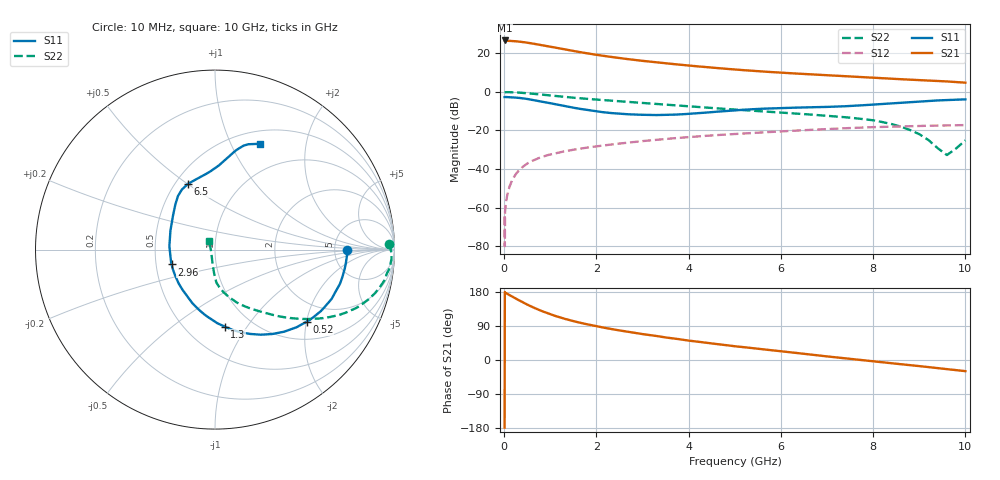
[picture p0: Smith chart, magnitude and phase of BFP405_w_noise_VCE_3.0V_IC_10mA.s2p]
! Infineon Technologies  Discrete & RF Semiconductors
! BFP405
! VCE =  3.0 V,  IC =  10 mA
! Common Emitter S-Parameters:  Jan 2016
# GHz  S  MA  R  50
!  f  S11  S21  S12  S22
! GHz  MAG  ANG  MAG  ANG  MAG  ANG  MAG  ANG
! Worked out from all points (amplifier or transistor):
!   233 points, 10 MHz to 10 GHz, reference 50 ohm
!   highest |S21| = 26.7 dB at 10 MHz (marker M1)
!   |S21| within 3 dB of that: start of sweep to 946.4 MHz
!   unconditionally stable (mu >= 1): start of sweep to 17.97 MHz; 2.648 GHz to end of sweep
!   at 200 MHz: K = 0.15, MSG = 35.5 dB, |S12| = -44.7 dB
!   at 1.74 GHz: K = 0.76, MSG = 24.7 dB, |S12| = -29.1 dB
!   at 10 GHz: K = 1.37, MAG = 7.3 dB, |S12| = -17.2 dB
!   lowest NFmin = 1.62 dB at 900 MHz
!   S11 on the Smith chart (normalised r, x): 10 MHz: 6.51, -0.07; 520 MHz: 1.44, -2.00; 1.3 GHz: 0.75, -0.79; 2.96 GHz: 0.60, -0.11; 6.5 GHz: 0.58, +0.50; 10 GHz: 0.65, +1.30
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0.01  0.7338 -0.2  21.57 -178.3  0.0006 -74.7  0.9725 1.9
0.015  0.736 -0.7  21.47 179.6  0.0001 58.6  0.975 1.0
0.02  0.7383 -1.1  21.41 177.4  0.0008 91.7  0.9777 0.2
0.05  0.7355 -3.6  21.13 176.1  0.0016 85.1  0.9836 -1.0
0.095  0.7321 -7.0  21.12 172.6  0.0029 88.1  0.9846 -2.8
0.24  0.7133 -18.3  20.62 162.9  0.007 81.8  0.9674 -7.8
0.4  0.6828 -30.0  19.67 152.4  0.0113 76.9  0.944 -12.5
0.52  0.6497 -38.2  18.76 145.2  0.0143 73.5  0.9187 -15.8
0.7  0.598 -49.9  17.28 135.1  0.0182 69.4  0.8767 -20.1
0.86  0.5494 -59.3  15.97 127.1  0.0213 66.4  0.8389 -23.4
1.1  0.4827 -72.7  14.12 116.6  0.0255 63.0  0.785 -27.5
1.3  0.4321 -82.9  12.73 109.2  0.0287 60.9  0.7441 -30.3
1.68  0.3583 -101.5  10.57 97.4  0.0342 57.8  0.678 -34.6
2.2  0.2926 -126.3  8.446 84.4  0.0415 54.9  0.6067 -39.4
2.96  0.2558 -161.1  6.467 69.2  0.0523 50.6  0.5227 -45.6
3.4  0.2522 179.9  5.68 61.5  0.0588 47.8  0.4782 -49.1
5.1  0.3397 129.9  3.732 35.1  0.0824 35.7  0.342 -64.3
6.5  0.3964 112.2  2.919 16.3  0.1017 25.7  0.2662 -75.1
6.8  0.4025 107.0  2.781 12.3  0.1059 23.2  0.2505 -77.3
8.4  0.5066 83.1  2.193 -8.6  0.1257 8.9  0.1466 -90.7
9.6  0.6158 72.4  1.866 -24.3  0.1355 -1.2  0.0231 -170.5
10  0.6404 67.0  1.735 -29.4  0.138 -4.1  0.0555 123.7
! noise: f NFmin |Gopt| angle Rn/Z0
0.9  1.62  0.2  6  0.32
1.8  1.88  0.14  1  0.29
2.4  2  0.12  4  0.31
3  2.03  0.08  20  0.29
4  2.19  0.05  -72  0.28
5  2.56  0.11  -98  0.28
